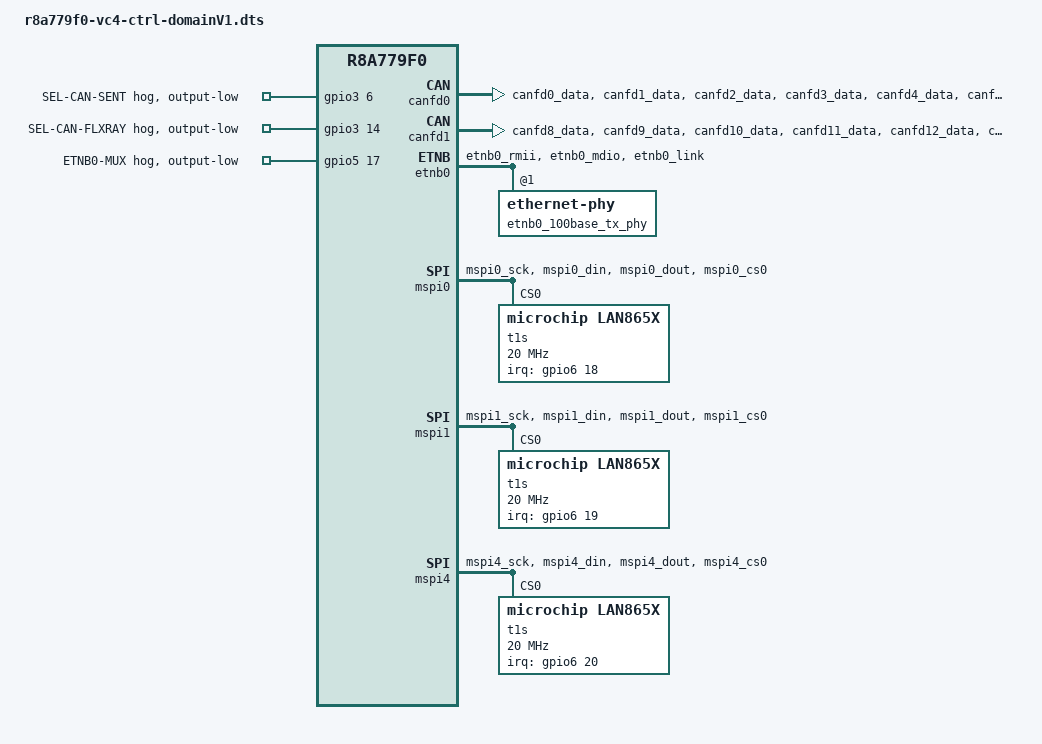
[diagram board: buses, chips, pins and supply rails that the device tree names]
// SPDX-License-Identifier: GPL-2.0
/*
 * Device Tree Source for the VC4 vehicle computer board
 * This device requires full access for CA55 cores (application domain) to
 * the control domain. Means G4 processor domain needs to grant access before
 * Linux is booted.
 *
 * Copyright (C) 2021 Renesas Electronics Corp.
 */

#include "r8a779f0-vc4V1.dts"
#include "r8a779f0-ctrl-domain.dtsi"

&canfd0 {
	status = "okay";

	pinctrl-0 = <&canfd0_pins>;
	pinctrl-names = "default";

	channel0 {
		status = "okay";
		gpios = <&fpga4000 FPGA4000_CAN0_EN GPIO_ACTIVE_HIGH>,
			<&fpga4000 FPGA4000_CAN0_STBZ GPIO_ACTIVE_HIGH>;
	};

	channel1 {
		status = "okay";
		gpios = <&fpga4000 FPGA4000_CAN1_EN GPIO_ACTIVE_HIGH>,
			<&fpga4000 FPGA4000_CAN1_STBZ GPIO_ACTIVE_HIGH>;
	};

	channel2 {
		status = "okay";
		gpios = <&fpga4000 FPGA4000_CAN2_EN GPIO_ACTIVE_HIGH>,
			<&fpga4000 FPGA4000_CAN2_STBZ GPIO_ACTIVE_HIGH>;
	};

	channel3 {
		status = "okay";
		gpios = <&fpga4000 FPGA4000_CAN3_EN GPIO_ACTIVE_HIGH>,
			<&fpga4000 FPGA4000_CAN3_STBZ GPIO_ACTIVE_HIGH>;
	};

	channel4 {
		status = "okay";
		gpios = <&fpga4000 FPGA4000_CAN4_EN GPIO_ACTIVE_HIGH>,
			<&fpga4000 FPGA4000_CAN4_STBZ GPIO_ACTIVE_HIGH>;
	};

	channel5 {
		status = "okay";
		gpios = <&fpga4000 FPGA4000_CAN5_EN GPIO_ACTIVE_HIGH>,
			<&fpga4000 FPGA4000_CAN5_STBZ GPIO_ACTIVE_HIGH>;
	};

	channel6 {
		status = "okay";
		gpios = <&fpga4000 FPGA4000_CAN6_EN GPIO_ACTIVE_HIGH>,
			<&fpga4000 FPGA4000_CAN6_STBZ GPIO_ACTIVE_HIGH>;
	};

	channel7 {
		status = "okay";
		gpios = <&fpga4000 FPGA4000_CAN7_EN GPIO_ACTIVE_HIGH>,
			<&fpga4000 FPGA4000_CAN7_STBZ GPIO_ACTIVE_HIGH>;
	};
};

&canfd1 {
	status = "okay";

	pinctrl-0 = <&canfd1_pins>;
	pinctrl-names = "default";

	channel0 {
		status = "okay";
		gpios = <&fpga4000 FPGA4000_CAN8_EN GPIO_ACTIVE_HIGH>,
			<&fpga4000 FPGA4000_CAN8_STBZ GPIO_ACTIVE_HIGH>;
	};

	channel1 {
		status = "okay";
		gpios = <&fpga4000 FPGA4000_CAN9_EN GPIO_ACTIVE_HIGH>,
			<&fpga4000 FPGA4000_CAN9_STBZ GPIO_ACTIVE_HIGH>;
	};

	channel2 {
		status = "okay";
		gpios = <&fpga4000 FPGA4000_CAN10_EN GPIO_ACTIVE_HIGH>,
			<&fpga4000 FPGA4000_CAN10_STBZ GPIO_ACTIVE_HIGH>;
	};

	channel3 {
		status = "okay";
		gpios = <&fpga4000 FPGA4000_CAN11_EN GPIO_ACTIVE_HIGH>,
			<&fpga4000 FPGA4000_CAN11_STBZ GPIO_ACTIVE_HIGH>;
	};

	channel4 {
		status = "okay";
		gpios = <&fpga4000 FPGA4000_CAN12_EN GPIO_ACTIVE_HIGH>,
			<&fpga4000 FPGA4000_CAN12_STBZ GPIO_ACTIVE_HIGH>;
	};

	channel5 {
		status = "okay";
		gpios = <&fpga4000 FPGA4000_CAN13_EN GPIO_ACTIVE_HIGH>,
			<&fpga4000 FPGA4000_CAN13_STBZ GPIO_ACTIVE_HIGH>;
	};

	channel6 {
		status = "okay";
		gpios = <&fpga4000 FPGA4000_CAN14_EN GPIO_ACTIVE_HIGH>,
			<&fpga4000 FPGA4000_CAN14_STBZ GPIO_ACTIVE_HIGH>;
	};

	channel7 {
		status = "okay";
		gpios = <&fpga4000 FPGA4000_CAN15_EN GPIO_ACTIVE_HIGH>,
			<&fpga4000 FPGA4000_CAN15_STBZ GPIO_ACTIVE_HIGH>;
	};
};

&etnb0 {
	status = "okay";

	pinctrl-0 = <&etnb0_pins>;
	pinctrl-names = "default";

	phy-mode = "rmii";
	phy-handle = <&etnb0_100base_tx_phy>;

	etnb0_100base_tx_phy: ethernet-phy@1 {
		reg = <1>;
		status = "okay";
	};

	etnb0_100base_t1_phy: ethernet-phy@2 {
		reg = <2>;
		status = "disabled";
	};
};

&gpio3 {
	sel-can-sent {
		gpio-hog;
		gpios = <6 GPIO_ACTIVE_HIGH>;
		output-low;
		line-name = "SEL-CAN-SENT";
	};

	sel-can-flxray {
		gpio-hog;
		gpios = <14 GPIO_ACTIVE_HIGH>;
		output-low;
		line-name = "SEL-CAN-FLXRAY";
	};
};

&gpio5 {
	etnb0-mux {
		gpio-hog;
		gpios = <17 GPIO_ACTIVE_HIGH>;
		output-low;
		line-name = "ETNB0-MUX";
	};
};

&mspi0 {
	status = "okay";

	pinctrl-0 = <&mspi0_pins>;
	pinctrl-names = "default";

	t1s@0 {
		compatible = "microchip,lan865x";
		reg = <0>;

		spi-max-frequency = <20000000>;

		interrupt-parent = <&gpio6>;
		interrupts = <18 IRQ_TYPE_LEVEL_LOW>;

		plca-enable = /bits/ 8 <0>;
		tx-cut-through-mode = /bits/ 8 <1>;
	};
};

&mspi1 {
	status = "okay";

	pinctrl-0 = <&mspi1_pins>;
	pinctrl-names = "default";

	t1s@0 {
		compatible = "microchip,lan865x";
		reg = <0>;

		spi-max-frequency = <20000000>;

		interrupt-parent = <&gpio6>;
		interrupts = <19 IRQ_TYPE_LEVEL_LOW>;

		plca-enable = /bits/ 8 <0>;
		tx-cut-through-mode = /bits/ 8 <1>;
	};
};

&mspi4 {
	status = "okay";

	pinctrl-0 = <&mspi4_pins>;
	pinctrl-names = "default";

	t1s@0 {
		compatible = "microchip,lan865x";
		reg = <0>;

		spi-max-frequency = <20000000>;

		interrupt-parent = <&gpio6>;
		interrupts = <20 IRQ_TYPE_LEVEL_LOW>;

		plca-enable = /bits/ 8 <0>;
		tx-cut-through-mode = /bits/ 8 <1>;
	};
};

&pfc {
	canfd0_pins: canfd0 {
		channel0 {
			groups = "canfd0_data";
			function = "canfd0";
		};
		channel1 {
			groups = "canfd1_data";
			function = "canfd1";
		};
		channel2 {
			groups = "canfd2_data";
			function = "canfd2";
		};
		channel3 {
			groups = "canfd3_data";
			function = "canfd3";
		};
		channel4 {
			groups = "canfd4_data";
			function = "canfd4";
		};
		channel5 {
			groups = "canfd5_data";
			function = "canfd5";
		};
		channel6 {
			groups = "canfd6_data";
			function = "canfd6";
		};
		channel7 {
			groups = "canfd7_data";
			function = "canfd7";
		};
	};

	canfd1_pins: canfd1 {
		channel8 {
			groups = "canfd8_data";
			function = "canfd8";
		};
		channel9 {
			groups = "canfd9_data";
			function = "canfd9";
		};
		channel10 {
			groups = "canfd10_data";
			function = "canfd10";
		};
		channel11 {
			groups = "canfd11_data";
			function = "canfd11";
		};
		channel12 {
			groups = "canfd12_data";
			function = "canfd12";
		};
		channel13 {
			groups = "canfd13_data";
			function = "canfd13";
		};
		channel14 {
			groups = "canfd14_data";
			function = "canfd14";
		};
		channel15 {
			groups = "canfd15_data";
			function = "canfd15";
		};
	};

	etnb0_pins: etnb0 {
		groups = "etnb0_rmii", "etnb0_mdio", "etnb0_link";
		function = "etnb0";
	};

	mspi0_pins: mpsi0 {
		groups = "mspi0_sck", "mspi0_din", "mspi0_dout", "mspi0_cs0";
		function = "mspi0";
	};

	mspi1_pins: mpsi1 {
		groups = "mspi1_sck", "mspi1_din", "mspi1_dout", "mspi1_cs0";
		function = "mspi1";
	};

	mspi4_pins: mpsi4 {
		groups = "mspi4_sck", "mspi4_din", "mspi4_dout", "mspi4_cs0";
		function = "mspi4";
	};
};
